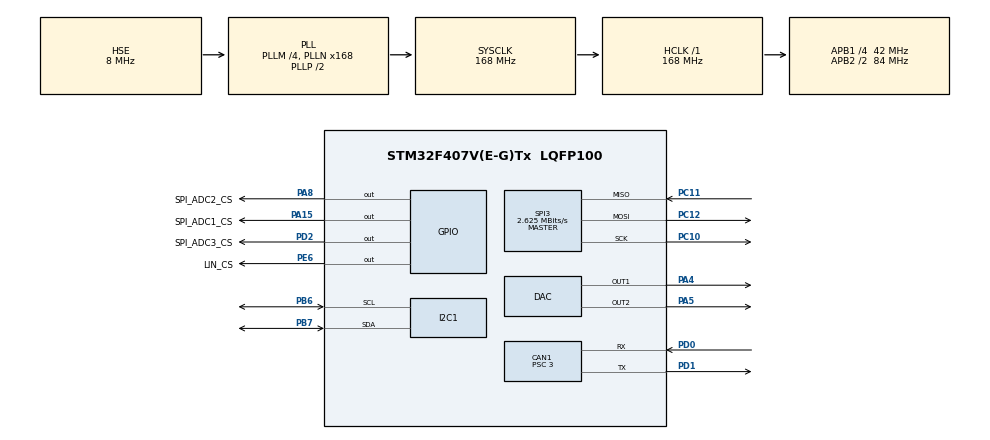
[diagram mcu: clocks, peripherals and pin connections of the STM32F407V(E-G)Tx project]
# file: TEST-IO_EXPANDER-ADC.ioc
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CAN1.BS1=CAN_BS1_11TQ
CAN1.BS2=CAN_BS2_2TQ
CAN1.CalculateBaudRate=1000000
CAN1.CalculateTimeBit=1000
CAN1.CalculateTimeQuantum=71.42857142857143
CAN1.Prescaler=3
I2C1.I2C_Mode=I2C_Fast
I2C1.OwnAddress=0
Mcu.Family=STM32F4
Mcu.Name=STM32F407V(E-G)Tx
Mcu.Package=LQFP100
NVIC.CAN1_RX0_IRQn=true\:0\:0\:false\:false\:true\:true\:true\:true
NVIC.CAN1_RX1_IRQn=true\:0\:0\:false\:false\:true\:true\:true\:true
NVIC.CAN1_SCE_IRQn=true\:0\:0\:false\:false\:true\:true\:true\:true
NVIC.CAN1_TX_IRQn=true\:0\:0\:false\:false\:true\:true\:true\:true
NVIC.PriorityGroup=NVIC_PRIORITYGROUP_4
NVIC.TIM6_DAC_IRQn=true\:3\:0\:true\:false\:true\:true\:true\:true
PA13.Mode=Serial_Wire
PA13.Signal=SYS_JTMS-SWDIO
PA14.Mode=Serial_Wire
PA14.Signal=SYS_JTCK-SWCLK
PA15.GPIO_Label=SPI_ADC1_CS
PA15.GPIO_PuPd=GPIO_PULLUP
PA15.GPIO_Speed=GPIO_SPEED_FREQ_HIGH
PA15.PinState=GPIO_PIN_SET
PA15.Signal=GPIO_Output
PA4.Signal=COMP_DAC1_group
PA5.Signal=COMP_DAC2_group
PA8.GPIO_Label=SPI_ADC2_CS
PA8.PinState=GPIO_PIN_SET
PA8.Signal=GPIO_Output
PB6.GPIO_Pu=GPIO_NOPULL
PB6.Mode=I2C
PB6.Signal=I2C1_SCL
PB7.GPIO_Pu=GPIO_NOPULL
PB7.Mode=I2C
PB7.Signal=I2C1_SDA
PC10.Mode=Full_Duplex_Master
PC10.Signal=SPI3_SCK
PC11.Mode=Full_Duplex_Master
PC11.Signal=SPI3_MISO
PC12.Mode=Full_Duplex_Master
PC12.Signal=SPI3_MOSI
PD0.Mode=CAN_Activate
PD0.Signal=CAN1_RX
PD1.Mode=CAN_Activate
PD1.Signal=CAN1_TX
PD2.GPIO_Label=SPI_ADC3_CS
PD2.PinState=GPIO_PIN_SET
PD2.Signal=GPIO_Output
PE6.GPIO_Label=LIN_CS
PE6.PinState=GPIO_PIN_SET
PE6.Signal=GPIO_Output
PH0-OSC_IN.Mode=HSE-External-Oscillator
PH0-OSC_IN.Signal=RCC_OSC_IN
PH1-OSC_OUT.Mode=HSE-External-Oscillator
PH1-OSC_OUT.Signal=RCC_OSC_OUT
ProjectManager.HeapSize=0x200
ProjectManager.StackSize=0x400
ProjectManager.TargetToolchain=STM32CubeIDE
RCC.48MHZClocksFreq_Value=84000000
RCC.AHBFreq_Value=168000000
RCC.APB1CLKDivider=RCC_HCLK_DIV4
RCC.APB1Freq_Value=42000000
RCC.APB1TimFreq_Value=84000000
RCC.APB2CLKDivider=RCC_HCLK_DIV2
RCC.APB2Freq_Value=84000000
RCC.APB2TimFreq_Value=168000000
RCC.CortexFreq_Value=168000000
RCC.HCLKFreq_Value=168000000
RCC.HSE_VALUE=8000000
RCC.HSI_VALUE=16000000
RCC.LSE_VALUE=32768
RCC.PLLM=4
RCC.PLLN=168
RCC.PLLSourceVirtual=RCC_PLLSOURCE_HSE
RCC.SYSCLKFreq_VALUE=168000000
RCC.SYSCLKSource=RCC_SYSCLKSOURCE_PLLCLK
RCC.VCOOutputFreq_Value=336000000
SH.COMP_DAC1_group.0=DAC_OUT1,DAC_OUT1
SH.COMP_DAC2_group.0=DAC_OUT2,DAC_OUT2
SPI3.BaudRatePrescaler=SPI_BAUDRATEPRESCALER_16
SPI3.CLKPhase=SPI_PHASE_1EDGE
SPI3.CLKPolarity=SPI_POLARITY_LOW
SPI3.CalculateBaudRate=2.625 MBits/s
SPI3.Direction=SPI_DIRECTION_2LINES
SPI3.Mode=SPI_MODE_MASTER
SPI3.VirtualType=VM_MASTER
TIM6.Period=524
TIM6.Prescaler=31
VP_TIM6_VS_ClockSourceINT.Mode=Enable_Timer
board=custom

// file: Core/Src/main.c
/* USER CODE BEGIN Header */
/**
 ******************************************************************************
 * @file           : main.c
 * @brief          : Main program body
 ******************************************************************************
 * @attention
 *
 * Copyright (c) 2023 STMicroelectronics.
 * All rights reserved.
 *
 * This software is licensed under terms that can be found in the LICENSE file
 * in the root directory of this software component.
 * If no LICENSE file comes with this software, it is provided AS-IS.
 *
 ******************************************************************************
 */
/* USER CODE END Header */
#include "main.h"

/* USER CODE BEGIN Includes */
#include "MCP3008.h"
#include "MCP23008.h"
#include "maquette_can.h"
/* USER CODE END Includes */

/* USER CODE BEGIN PD */

#define OVERCURRENT_THRESHOLD 7.0 //in AMPS
#define SHUNT_R 0.010 // Ohms
#define OVERCURRENT_THRESHOLD_V 3.0//OVERCURRENT_THRESHOLD*SHUNT_R
/* USER CODE END PD */

CAN_HandleTypeDef hcan1;

DAC_HandleTypeDef hdac;

I2C_HandleTypeDef hi2c1;

SPI_HandleTypeDef hspi3;

TIM_HandleTypeDef htim6;

/* USER CODE BEGIN PV */

MCP3008_InitTypeDef ADC_1 = {0};
MCP3008_InitTypeDef ADC_2 = {0};
MCP3008_InitTypeDef ADC_3 = {0};
MCP3008_InitTypeDef *ADC_LIST[] = {&ADC_1, &ADC_2, &ADC_3};

MCP23008_InitTypeDef GPIO_0 = {0};
MCP23008_InitTypeDef GPIO_1 = {0};
MCP23008_InitTypeDef GPIO_2 = {0};
MCP23008_InitTypeDef GPIO_3 = {0};
MCP23008_InitTypeDef GPIO_4 = {0};
MCP23008_InitTypeDef GPIO_5 = {0};
MCP23008_InitTypeDef GPIO_6 = {0};
MCP23008_InitTypeDef GPIO_7 = {0};

uint8_t INT_FLAG =0;

//CAN
uint32_t pTxMailbox;

//CAN circular buffer
uint8_t CAN_buf_RD;
uint8_t CAN_buf_WR;
uint8_t val_can;
CAN_frame_rcv CAN_circ_buf[BUF_CIRC_SIZE];

/* USER CODE END PV */

void SystemClock_Config(void);
static void MX_GPIO_Init(void);
static void MX_I2C1_Init(void);
static void MX_DAC_Init(void);
static void MX_SPI3_Init(void);
static void MX_CAN1_Init(void);
static void MX_TIM6_Init(void);
/* USER CODE BEGIN PFP */

void TO54_IOEXPANDERS_Init();

void TO54_UPDATE_ANALOG();

void TO54_OVERCURRENT_ACTION(MCP3008_InitTypeDef* adc, uint8_t pin_nbr);
void TO54_ADC1_OVERCURRENT_ACTION(uint8_t pin_nbr);
void TO54_ADC2_OVERCURRENT_ACTION(uint8_t pin_nbr);
void TO54_ADC3_OVERCURRENT_ACTION(uint8_t pin_nbr);
void TO54_CHECK_OVERCURRENT();

void test_procedure();
/* USER CODE END PFP */

int main(void)
{

	/* MCU Configuration--------------------------------------------------------*/

	/* Reset of all peripherals, Initializes the Flash interface and the Systick. */
	HAL_Init();

	/* Configure the system clock */
	SystemClock_Config();

	/* Initialize all configured peripherals */
	MX_GPIO_Init();
	MX_I2C1_Init();
	MX_DAC_Init();
	MX_SPI3_Init();
	MX_CAN1_Init();
	MX_TIM6_Init();
	/* USER CODE BEGIN 2 */
	TO54_IOEXPANDERS_Init();
	uint8_t TimerTestData = 0xff;

	HAL_TIM_Base_Start(&htim6);
	float result[8] = {0};
	init_circular_buffer();

	/* USER CODE END 2 */

	/* Infinite loop */
	/* USER CODE BEGIN WHILE */
	CAN_frame_Tx Frame_To_Send;

	Frame_To_Send.CAN_message.StdId = 0x050;
	Frame_To_Send.CAN_message.RTR = CAN_RTR_DATA;
	Frame_To_Send.CAN_message.IDE = CAN_ID_STD;
	Frame_To_Send.CAN_message.DLC = 1;
	Frame_To_Send.rbuffer_data[0] = 0xF4;

//	HAL_CAN_AddTxMessage(&hcan1, &Frame_To_Send.CAN_message, Frame_To_Send.rbuffer_data,&pTxMailbox);
	HAL_Delay(1);

	while (1)
	{
		if(INT_FLAG != 0){
			if(MCP23008_WritePort(&GPIO_6, TimerTestData, 100)!= HAL_OK) Error_Handler();
			TimerTestData = ~TimerTestData;
			TO54_UPDATE_ANALOG();
			TO54_CHECK_OVERCURRENT();
			test_procedure();
			INT_FLAG = 0;
		}
		if (val_can>0){
			Receive_frame();
		}

		/* USER CODE END WHILE */

	}
}

void SystemClock_Config(void)
{
	RCC_OscInitTypeDef RCC_OscInitStruct = {0};
	RCC_ClkInitTypeDef RCC_ClkInitStruct = {0};

	/** Configure the main internal regulator output voltage
	 */
	__HAL_RCC_PWR_CLK_ENABLE();
	__HAL_PWR_VOLTAGESCALING_CONFIG(PWR_REGULATOR_VOLTAGE_SCALE1);

	/** Initializes the RCC Oscillators according to the specified parameters
	 * in the RCC_OscInitTypeDef structure.
	 */
	RCC_OscInitStruct.OscillatorType = RCC_OSCILLATORTYPE_HSE;
	RCC_OscInitStruct.HSEState = RCC_HSE_ON;
	RCC_OscInitStruct.PLL.PLLState = RCC_PLL_ON;
	RCC_OscInitStruct.PLL.PLLSource = RCC_PLLSOURCE_HSE;
	RCC_OscInitStruct.PLL.PLLM = 4;
	RCC_OscInitStruct.PLL.PLLN = 168;
	RCC_OscInitStruct.PLL.PLLP = RCC_PLLP_DIV2;
	RCC_OscInitStruct.PLL.PLLQ = 4;
	if (HAL_RCC_OscConfig(&RCC_OscInitStruct) != HAL_OK)
	{
		Error_Handler();
	}

	/** Initializes the CPU, AHB and APB buses clocks
	 */
	RCC_ClkInitStruct.ClockType = RCC_CLOCKTYPE_HCLK|RCC_CLOCKTYPE_SYSCLK
			|RCC_CLOCKTYPE_PCLK1|RCC_CLOCKTYPE_PCLK2;
	RCC_ClkInitStruct.SYSCLKSource = RCC_SYSCLKSOURCE_PLLCLK;
	RCC_ClkInitStruct.AHBCLKDivider = RCC_SYSCLK_DIV1;
	RCC_ClkInitStruct.APB1CLKDivider = RCC_HCLK_DIV4;
	RCC_ClkInitStruct.APB2CLKDivider = RCC_HCLK_DIV2;

	if (HAL_RCC_ClockConfig(&RCC_ClkInitStruct, FLASH_LATENCY_5) != HAL_OK)
	{
		Error_Handler();
	}
}

static void MX_CAN1_Init(void)
{

	hcan1.Instance = CAN1;
	hcan1.Init.Prescaler = 17;
	hcan1.Init.Mode = CAN_MODE_LOOPBACK;
	hcan1.Init.SyncJumpWidth = CAN_SJW_1TQ;
	hcan1.Init.TimeSeg1 = CAN_BS1_6TQ;
	hcan1.Init.TimeSeg2 = CAN_BS2_3TQ;
	hcan1.Init.TimeTriggeredMode = DISABLE;
	hcan1.Init.AutoBusOff = DISABLE;
	hcan1.Init.AutoWakeUp = DISABLE;
	hcan1.Init.AutoRetransmission = DISABLE;
	hcan1.Init.ReceiveFifoLocked = DISABLE;
	hcan1.Init.TransmitFifoPriority = DISABLE;
	if (HAL_CAN_Init(&hcan1) != HAL_OK)
	{
		Error_Handler();
	}
	/* USER CODE BEGIN CAN1_Init 2 */

	CAN_FilterTypeDef Myfilter = {0};
	  Myfilter.FilterFIFOAssignment=CAN_FILTER_FIFO0;
	  Myfilter.FilterIdHigh=0x0001;
	  Myfilter.FilterIdLow=0x0;
	  Myfilter.FilterMaskIdHigh=0;//0x1050;
	  Myfilter.FilterMaskIdLow=0;//0x1<<2;
	  Myfilter.FilterScale=CAN_FILTERSCALE_16BIT;
	  Myfilter.FilterMode=CAN_FILTERMODE_IDMASK;
	  Myfilter.FilterActivation=ENABLE;
	  Myfilter.FilterBank=0;
	HAL_CAN_ConfigFilter(&hcan1, &Myfilter);
	HAL_CAN_ActivateNotification(&hcan1, CAN_IT_RX_FIFO0_MSG_PENDING);
	HAL_CAN_Start(&hcan1);
	/* USER CODE END CAN1_Init 2 */

}

static void MX_DAC_Init(void)
{

	DAC_ChannelConfTypeDef sConfig = {0};

	/** DAC Initialization
	 */
	hdac.Instance = DAC;
	if (HAL_DAC_Init(&hdac) != HAL_OK)
	{
		Error_Handler();
	}

	/** DAC channel OUT1 config
	 */
	sConfig.DAC_Trigger = DAC_TRIGGER_NONE;
	sConfig.DAC_OutputBuffer = DAC_OUTPUTBUFFER_ENABLE;
	if (HAL_DAC_ConfigChannel(&hdac, &sConfig, DAC_CHANNEL_1) != HAL_OK)
	{
		Error_Handler();
	}

	/** DAC channel OUT2 config
	 */
	if (HAL_DAC_ConfigChannel(&hdac, &sConfig, DAC_CHANNEL_2) != HAL_OK)
	{
		Error_Handler();
	}

}

static void MX_I2C1_Init(void)
{

	hi2c1.Instance = I2C1;
	hi2c1.Init.ClockSpeed = 400000;
	hi2c1.Init.DutyCycle = I2C_DUTYCYCLE_2;
	hi2c1.Init.OwnAddress1 = 0;
	hi2c1.Init.AddressingMode = I2C_ADDRESSINGMODE_7BIT;
	hi2c1.Init.DualAddressMode = I2C_DUALADDRESS_DISABLE;
	hi2c1.Init.OwnAddress2 = 0;
	hi2c1.Init.GeneralCallMode = I2C_GENERALCALL_DISABLE;
	hi2c1.Init.NoStretchMode = I2C_NOSTRETCH_DISABLE;
	if (HAL_I2C_Init(&hi2c1) != HAL_OK)
	{
		Error_Handler();
	}

}

static void MX_SPI3_Init(void)
{

	/* SPI3 parameter configuration*/
	hspi3.Instance = SPI3;
	hspi3.Init.Mode = SPI_MODE_MASTER;
	hspi3.Init.Direction = SPI_DIRECTION_2LINES;
	hspi3.Init.DataSize = SPI_DATASIZE_8BIT;
	hspi3.Init.CLKPolarity = SPI_POLARITY_LOW;
	hspi3.Init.CLKPhase = SPI_PHASE_1EDGE;
	hspi3.Init.NSS = SPI_NSS_SOFT;
	hspi3.Init.BaudRatePrescaler = SPI_BAUDRATEPRESCALER_16;
	hspi3.Init.FirstBit = SPI_FIRSTBIT_MSB;
	hspi3.Init.TIMode = SPI_TIMODE_DISABLE;
	hspi3.Init.CRCCalculation = SPI_CRCCALCULATION_DISABLE;
	hspi3.Init.CRCPolynomial = 10;
	if (HAL_SPI_Init(&hspi3) != HAL_OK)
	{
		Error_Handler();
	}
	/* USER CODE BEGIN SPI3_Init 2 */
	ADC_1.phspi = &hspi3;
	ADC_1.pgpio_cs = SPI_ADC1_CS_GPIO_Port;
	ADC_1.pin_nbr = SPI_ADC1_CS_Pin;
	ADC_1.vref = 5.305;
	ADC_1.ID = 1;

	ADC_2.phspi = &hspi3;
	ADC_2.pgpio_cs = SPI_ADC2_CS_GPIO_Port;
	ADC_2.pin_nbr = SPI_ADC2_CS_Pin;
	ADC_2.vref = 5.305;
	ADC_2.ID = 2;

	ADC_3.phspi = &hspi3;
	ADC_3.pgpio_cs = SPI_ADC3_CS_GPIO_Port;
	ADC_3.pin_nbr = SPI_ADC3_CS_Pin;
	ADC_3.vref = 5.305;
	ADC_3.ID = 3;
	/* USER CODE END SPI3_Init 2 */

}

static void MX_TIM6_Init(void)
{

	TIM_MasterConfigTypeDef sMasterConfig = {0};

	htim6.Instance = TIM6;
	htim6.Init.Prescaler = 31;
	htim6.Init.CounterMode = TIM_COUNTERMODE_UP;
	htim6.Init.Period = 524;
	htim6.Init.AutoReloadPreload = TIM_AUTORELOAD_PRELOAD_DISABLE;
	if (HAL_TIM_Base_Init(&htim6) != HAL_OK)
	{
		Error_Handler();
	}
	sMasterConfig.MasterOutputTrigger = TIM_TRGO_RESET;
	sMasterConfig.MasterSlaveMode = TIM_MASTERSLAVEMODE_DISABLE;
	if (HAL_TIMEx_MasterConfigSynchronization(&htim6, &sMasterConfig) != HAL_OK)
	{
		Error_Handler();
	}
	/* USER CODE BEGIN TIM6_Init 2 */
	__HAL_TIM_ENABLE_IT(&htim6, TIM_IT_UPDATE);
	/* USER CODE END TIM6_Init 2 */

}

static void MX_GPIO_Init(void)
{
	GPIO_InitTypeDef GPIO_InitStruct = {0};

	/* GPIO Ports Clock Enable */
	__HAL_RCC_GPIOE_CLK_ENABLE();
	__HAL_RCC_GPIOH_CLK_ENABLE();
	__HAL_RCC_GPIOA_CLK_ENABLE();
	__HAL_RCC_GPIOC_CLK_ENABLE();
	__HAL_RCC_GPIOD_CLK_ENABLE();
	__HAL_RCC_GPIOB_CLK_ENABLE();

	/*Configure GPIO pin Output Level */
	HAL_GPIO_WritePin(LIN_CS_GPIO_Port, LIN_CS_Pin, GPIO_PIN_SET);

	/*Configure GPIO pin Output Level */
	HAL_GPIO_WritePin(GPIOA, SPI_ADC2_CS_Pin|SPI_ADC1_CS_Pin, GPIO_PIN_SET);

	/*Configure GPIO pin Output Level */
	HAL_GPIO_WritePin(SPI_ADC3_CS_GPIO_Port, SPI_ADC3_CS_Pin, GPIO_PIN_SET);

	/*Configure GPIO pin : LIN_CS_Pin */
	GPIO_InitStruct.Pin = LIN_CS_Pin;
	GPIO_InitStruct.Mode = GPIO_MODE_OUTPUT_PP;
	GPIO_InitStruct.Pull = GPIO_NOPULL;
	GPIO_InitStruct.Speed = GPIO_SPEED_FREQ_LOW;
	HAL_GPIO_Init(LIN_CS_GPIO_Port, &GPIO_InitStruct);

	/*Configure GPIO pin : SPI_ADC2_CS_Pin */
	GPIO_InitStruct.Pin = SPI_ADC2_CS_Pin;
	GPIO_InitStruct.Mode = GPIO_MODE_OUTPUT_PP;
	GPIO_InitStruct.Pull = GPIO_NOPULL;
	GPIO_InitStruct.Speed = GPIO_SPEED_FREQ_LOW;
	HAL_GPIO_Init(SPI_ADC2_CS_GPIO_Port, &GPIO_InitStruct);

	/*Configure GPIO pin : SPI_ADC1_CS_Pin */
	GPIO_InitStruct.Pin = SPI_ADC1_CS_Pin;
	GPIO_InitStruct.Mode = GPIO_MODE_OUTPUT_PP;
	GPIO_InitStruct.Pull = GPIO_PULLUP;
	GPIO_InitStruct.Speed = GPIO_SPEED_FREQ_HIGH;
	HAL_GPIO_Init(SPI_ADC1_CS_GPIO_Port, &GPIO_InitStruct);

	/*Configure GPIO pin : SPI_ADC3_CS_Pin */
	GPIO_InitStruct.Pin = SPI_ADC3_CS_Pin;
	GPIO_InitStruct.Mode = GPIO_MODE_OUTPUT_PP;
	GPIO_InitStruct.Pull = GPIO_NOPULL;
	GPIO_InitStruct.Speed = GPIO_SPEED_FREQ_LOW;
	HAL_GPIO_Init(SPI_ADC3_CS_GPIO_Port, &GPIO_InitStruct);

}

/* USER CODE BEGIN 4 */
void TO54_IOEXPANDERS_Init(){

	/* adresses physiques */
	GPIO_0.address = ( 0b0100<<3 | 0b000) << 1;
	GPIO_1.address = ( 0b0100<<3 | 0b001) << 1;
	GPIO_2.address = ( 0b0100<<3 | 0b100) << 1;
	GPIO_3.address = ( 0b0100<<3 | 0b011) << 1;
	GPIO_4.address = ( 0b0100<<3 | 0b010) << 1;
	GPIO_5.address = ( 0b0100<<3 | 0b110) << 1;
	GPIO_6.address = ( 0b0100<<3 | 0b101) << 1;
	GPIO_7.address = ( 0b0100<<3 | 0b111) << 1;

	GPIO_0.hi2c = &hi2c1;
	GPIO_1.hi2c = &hi2c1;
	GPIO_2.hi2c = &hi2c1;
	GPIO_3.hi2c = &hi2c1;
	GPIO_4.hi2c = &hi2c1;
	GPIO_5.hi2c = &hi2c1;
	GPIO_6.hi2c = &hi2c1;
	GPIO_7.hi2c = &hi2c1;

	if(MCP23008_Setup(&GPIO_0, 0x00, 100) != HAL_OK) Error_Handler(); //Sorties
	if(MCP23008_Setup(&GPIO_1, 0x00, 100) != HAL_OK) Error_Handler(); //Sorties
	if(MCP23008_Setup(&GPIO_2, 0x00, 100) != HAL_OK) Error_Handler(); //Sorties
	if(MCP23008_Setup(&GPIO_3, 0x00, 100) != HAL_OK) Error_Handler(); //Sorties
	if(MCP23008_Setup(&GPIO_4, 0x00, 100) != HAL_OK) Error_Handler(); //Sorties
	if(MCP23008_Setup(&GPIO_5, 0x00, 100) != HAL_OK) Error_Handler(); //Sorties
	if(MCP23008_Setup(&GPIO_6, 0x00, 100) != HAL_OK) Error_Handler(); //Sorties
	//if(MCP23008_Setup(&GPIO_7, 0xFF, 100) != HAL_OK) Error_Handler(); //Entrées

}

void HAL_TIM_PeriodElapsedCallback(TIM_HandleTypeDef *htim){
	/* This timer is generating an interrupt every 5kHz, used for analog measures, and electric motor monitoring */
	if(INT_FLAG != 1) INT_FLAG = 1;
	else{
		//	Error_Handler();
	}
}

void TO54_UPDATE_ANALOG(){
	MCP3008_InitTypeDef* adc;
	for(uint8_t adc_nbr = 0 ; adc_nbr < 3; adc_nbr++ ){
		adc = ADC_LIST[adc_nbr];
		/* check if we need to skip the current ADC*/
		if(adc->update_request == 0x00) continue;

		//we check if we need to read the entire ADC
		if(adc->update_request == 0xFF){
			MCP3008_ReadAllChannels(adc, 100);
			continue;
		}

		/* If we get here, we need to read specific channels */
		for(uint8_t channel=0;channel<8;channel++){
			if((adc->update_request>>channel) & 0b00000001) MCP3008_ReadChannel(adc, channel, 100);
		}
	}
}
void TO54_OVERCURRENT_ACTION(MCP3008_InitTypeDef* adc, uint8_t pin_nbr){
	switch(adc->ID){
	case 1: //ADC0
		TO54_ADC1_OVERCURRENT_ACTION(pin_nbr);
		break;
	case 2: //ADC1
		TO54_ADC2_OVERCURRENT_ACTION(pin_nbr);
		break;
	case 3: //ADC2
		TO54_ADC3_OVERCURRENT_ACTION(pin_nbr);
		break;

	}

}

void TO54_ADC1_OVERCURRENT_ACTION(uint8_t pin_nbr){
	switch(pin_nbr){
	//we need to deactivate the corresponding output to avoid damage
	case(ADC1_FAVG_ROUTE):
		MCP23008_WritePin(&GPIO_3, 0,0, 100);
	break;
	case(ADC1_FAVG_CROISEMENT):
		MCP23008_WritePin(&GPIO_3, 1,0, 100);
	break;
	case(ADC1_FAVG_CLIGNO):
		MCP23008_WritePin(&GPIO_3, 2,0, 100);
	break;
	case(ADC1_FAVG_VEILLE):
		MCP23008_WritePin(&GPIO_3, 3,0, 100);
	break;
	case(ADC1_FAVD_ROUTE):
		MCP23008_WritePin(&GPIO_3, 4,0, 100);
	break;
	case(ADC1_FAVD_CROISEMENT):
		MCP23008_WritePin(&GPIO_3, 5,0, 100);
	break;
	case(ADC1_FAVD_CLIGNO):
		MCP23008_WritePin(&GPIO_3, 6,0, 100);
	break;
	case(ADC1_FAVD_VEILLE):
		MCP23008_WritePin(&GPIO_3, 7,0, 100);
	break;

	}
	ADC_1.update_request ^= 1 << pin_nbr;
	MCP3008_ReadChannel(&ADC_1, pin_nbr, 100);
}
void TO54_ADC2_OVERCURRENT_ACTION(uint8_t pin_nbr){
	switch(pin_nbr){
	case(ADC2_FARG_VEILLE):
		MCP23008_WritePin(&GPIO_2, 0,0, 100);

	break;
	case(ADC2_FARG_STOP):
		MCP23008_WritePin(&GPIO_2, 1,0, 100);
	break;
	case(ADC2_FARG_CLIGNO):
		MCP23008_WritePin(&GPIO_2, 2,0, 100);
	break;
	case(ADC2_FARG_RECUL):
		MCP23008_WritePin(&GPIO_2, 3,0, 100);
	break;
	case(ADC2_FARD_VEILLE):
		MCP23008_WritePin(&GPIO_2, 4,0, 100);
	break;
	case(ADC2_FARD_STOP):
		MCP23008_WritePin(&GPIO_2, 5,0, 100);
	break;
	case(ADC2_FARD_CLIGNO):
		MCP23008_WritePin(&GPIO_2, 6,0, 100);
	break;
	case(ADC2_FARD_RECUL):
		MCP23008_WritePin(&GPIO_2, 7,0, 100);
	break;
	}
	ADC_2.update_request ^= 1 << pin_nbr;
	MCP3008_ReadChannel(&ADC_2, pin_nbr, 100);

}
void TO54_ADC3_OVERCURRENT_ACTION(uint8_t pin_nbr){
	switch(pin_nbr){
	case(ADC3_R_M1):
		MCP23008_WritePin(&GPIO_1, 0, 0, 100);
		MCP23008_WritePin(&GPIO_1, 1, 0, 100);
	break;
	case(ADC3_R_M2):
		MCP23008_WritePin(&GPIO_1, 4, 0, 100);
		MCP23008_WritePin(&GPIO_1, 5, 0, 100);
	break;
	case(ADC3_S_M1):
		MCP23008_WritePin(&GPIO_0, 0, 0, 100);
		MCP23008_WritePin(&GPIO_0, 1, 0, 100);
	break;
	case(ADC3_S_M2):
		MCP23008_WritePin(&GPIO_0, 4, 0, 100);
		MCP23008_WritePin(&GPIO_0, 5, 0, 100);
	break;
	case(ADC3_L_M1):
		MCP23008_WritePin(&GPIO_4, 0, 0, 100);
		MCP23008_WritePin(&GPIO_4, 1, 0, 100);
	break;
	case(ADC3_FARG_BROUILL):
		MCP23008_WritePin(&GPIO_4, 4, 0, 100);
	break;
	case(ADC3_FARD_BROUILL):
		MCP23008_WritePin(&GPIO_4, 5, 0, 100);
	break;
	}
	ADC_3.update_request ^= 1 << pin_nbr;
	MCP3008_ReadChannel(&ADC_3, pin_nbr, 100);
}
void TO54_CHECK_OVERCURRENT(){
	MCP3008_InitTypeDef* adc;
	/* we check each ADC */
	for(uint8_t adc_nbr = 0 ; adc_nbr < 3; adc_nbr++ ){
		adc = ADC_LIST[adc_nbr];

		/* and each input */
		for(uint8_t i=0;i<8;i++){
			if(adc->result[i] > OVERCURRENT_THRESHOLD_V){
				MCP3008_ReadChannel(adc, i, 10); //2 e vérif, pour essayer de filtrer le bruit
				if(adc->result[i] > OVERCURRENT_THRESHOLD_V) TO54_OVERCURRENT_ACTION(adc, i);

			}
		}
	}

}

uint32_t last_send_tick1 = 0;
void test_procedure(){
	if(last_send_tick1 > 10000)
	{
		CAN_frame_Tx Frame_To_Send;
		Frame_To_Send.CAN_message.StdId = 0x050;
		Frame_To_Send.CAN_message.RTR = CAN_RTR_DATA;
		Frame_To_Send.CAN_message.IDE = CAN_ID_STD;
		Frame_To_Send.CAN_message.DLC = 1;
		Frame_To_Send.rbuffer_data[0] = 0x01;
		HAL_CAN_AddTxMessage(&hcan1, &Frame_To_Send.CAN_message, Frame_To_Send.rbuffer_data,&pTxMailbox);
		last_send_tick1 = 0;
	}
	last_send_tick1 ++;
}
/* USER CODE END 4 */

void Error_Handler(void)
{
	__disable_irq();
	while (1)
	{
	}
}
